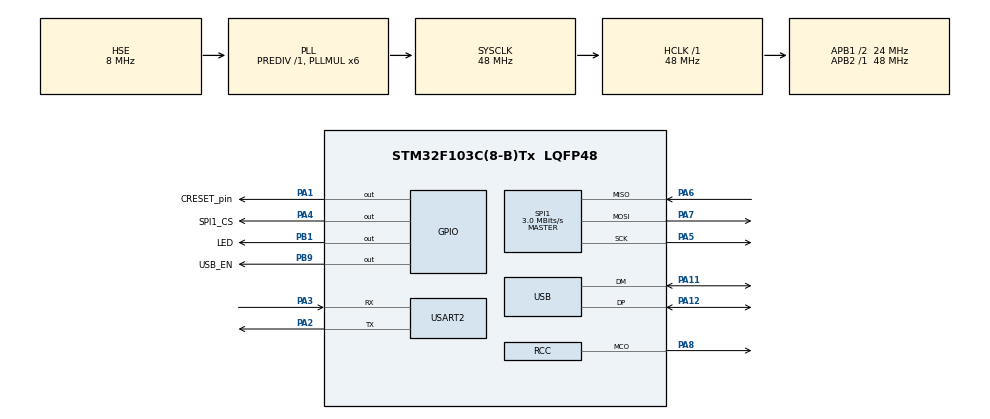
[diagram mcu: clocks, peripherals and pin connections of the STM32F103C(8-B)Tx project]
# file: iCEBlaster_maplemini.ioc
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Mcu.Family=STM32F1
Mcu.Name=STM32F103C(8-B)Tx
Mcu.Package=LQFP48
NVIC.PriorityGroup=NVIC_PRIORITYGROUP_4
NVIC.USB_LP_CAN1_RX0_IRQn=true\:0\:0\:false\:false\:true\:false\:true\:true
PA1.GPIO_Label=CRESET_pin
PA1.GPIO_ModeDefaultOutputPP=GPIO_MODE_OUTPUT_PP
PA1.GPIO_PuPd=GPIO_NOPULL
PA1.PinState=GPIO_PIN_RESET
PA1.Signal=GPIO_Output
PA11.Mode=Device
PA11.Signal=USB_DM
PA12.Mode=Device
PA12.Signal=USB_DP
PA13.Mode=Serial_Wire
PA13.Signal=SYS_JTMS-SWDIO
PA14.Mode=Serial_Wire
PA14.Signal=SYS_JTCK-SWCLK
PA2.Mode=Asynchronous
PA2.Signal=USART2_TX
PA3.Mode=Asynchronous
PA3.Signal=USART2_RX
PA4.GPIO_Label=SPI1_CS
PA4.GPIO_ModeDefaultOutputPP=GPIO_MODE_OUTPUT_PP
PA4.GPIO_PuPd=GPIO_NOPULL
PA4.PinState=GPIO_PIN_RESET
PA4.Signal=GPIO_Output
PA5.Mode=Full_Duplex_Master
PA5.Signal=SPI1_SCK
PA6.Mode=Full_Duplex_Master
PA6.Signal=SPI1_MISO
PA7.Mode=Full_Duplex_Master
PA7.Signal=SPI1_MOSI
PA8.Mode=Clock-out
PA8.Signal=RCC_MCO
PB1.GPIO_Label=LED
PB1.Signal=GPIO_Output
PB9.GPIO_Label=USB_EN
PB9.Signal=GPIO_Output
PD0-OSC_IN.Mode=HSE-External-Oscillator
PD0-OSC_IN.Signal=RCC_OSC_IN
PD1-OSC_OUT.Mode=HSE-External-Oscillator
PD1-OSC_OUT.Signal=RCC_OSC_OUT
ProjectManager.HeapSize=0x400
ProjectManager.StackSize=0x400
ProjectManager.TargetToolchain=STM32CubeIDE
RCC.AHBFreq_Value=48000000
RCC.APB1CLKDivider=RCC_HCLK_DIV2
RCC.APB1Freq_Value=24000000
RCC.APB1TimFreq_Value=48000000
RCC.APB2Freq_Value=48000000
RCC.APB2TimFreq_Value=48000000
RCC.HCLKFreq_Value=48000000
RCC.PLLMUL=RCC_PLL_MUL6
RCC.SYSCLKFreq_VALUE=48000000
RCC.SYSCLKSource=RCC_SYSCLKSOURCE_PLLCLK
RCC.USBFreq_Value=48000000
SPI1.BaudRatePrescaler=SPI_BAUDRATEPRESCALER_16
SPI1.CLKPhase=SPI_PHASE_2EDGE
SPI1.CLKPolarity=SPI_POLARITY_HIGH
SPI1.CalculateBaudRate=3.0 MBits/s
SPI1.Direction=SPI_DIRECTION_2LINES
SPI1.Mode=SPI_MODE_MASTER
SPI1.VirtualType=VM_MASTER
USART2.VirtualMode=VM_ASYNC
USB_DEVICE.CLASS_NAME_FS=MSC
USB_DEVICE.MANUFACTURER_STRING=TinLethax
USB_DEVICE.MSC_MEDIA_PACKET=512
USB_DEVICE.PID_MSC_FS=0x2069
USB_DEVICE.PRODUCT_STRING_MSC_FS=iCEBlaster
USB_DEVICE.VID=0x1209
USB_DEVICE.VirtualMode=Msc
USB_DEVICE.VirtualModeFS=Msc_FS
VP_USB_DEVICE_VS_USB_DEVICE_MSC_FS.Mode=MSC_FS
board=custom

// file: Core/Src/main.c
/* USER CODE BEGIN Header */
/* iCEBlaster. STM32 based iCE40 Bitstream programmer tool with USB MSC Drag and Drop feature.
 * Coded by TinLethax
 * https://github.com/TiNredmc/iCEBlaster_maplemini
 */

/* USER CODE END Header */
#include "main.h"
#include "usb_device.h"

/* USER CODE BEGIN Includes */
#include <stdint.h>
#include <stdio.h>
#include <string.h>
#include <stm32f1xx_hal.h>
/* USER CODE END Includes */

/* USER CODE BEGIN PM */
#ifdef __GNUC__
  /* With GCC/RAISONANCE, small printf (option LD Linker->Libraries->Small printf
     set to 'Yes') calls __io_putchar() */
  #define PUTCHAR_PROTOTYPE int __io_putchar(int ch)
#else
  #define PUTCHAR_PROTOTYPE int fputc(int ch, FILE *f)
#endif /* __GNUC__ */
/* USER CODE END PM */

SPI_HandleTypeDef hspi1;

UART_HandleTypeDef huart2;

/* USER CODE BEGIN PV */
uint8_t reset_flag = 0;

/* USER CODE END PV */

void SystemClock_Config(void);
static void MX_GPIO_Init(void);
static void MX_SPI1_Init(void);
static void MX_USART2_UART_Init(void);
/* USER CODE BEGIN PFP */

PUTCHAR_PROTOTYPE
{
  /* Place your implementation of fputc here */
  /* e.g. write a character to the EVAL_COM1 and Loop until the end of transmission */
  HAL_UART_Transmit(&huart2, (uint8_t *)&ch, 1, 0xFFFF);

  return ch;
}
/* USER CODE END PFP */

/* USER CODE BEGIN 0 */

/* iCEBlaster. STM32 based iCE40 Bitstream programmer tool with USB MSC Drag and Drop feature.
 * Coded by TinLethax
 * https://github.com/TiNredmc/iCEBlaster_maplemini
 */

/* USER CODE END 0 */

int main(void)
{

  /* MCU Configuration--------------------------------------------------------*/

  /* Reset of all peripherals, Initializes the Flash interface and the Systick. */
  HAL_Init();

  /* Configure the system clock */
  SystemClock_Config();

  /* Initialize all configured peripherals */
  MX_GPIO_Init();
  MX_USB_DEVICE_Init();
  MX_SPI1_Init();
  MX_USART2_UART_Init();
  /* USER CODE BEGIN 2 */

  // Important source files worth taking a look at :
  // USB_DEVICE/App/usbd_storage_if.c

  /* On Maple Mini board has USB bus gating controlled by PB9
     * If USB function of your STM32F103 Maple Mini doesn't work
     * Or your PC doesn't detect your board
     * Set PB9 to Logic low */

     printf("%c",0x0c);// clear UART terminal screen
     HAL_GPIO_WritePin(SPI1_CS_GPIO_Port, SPI1_CS_Pin, GPIO_PIN_SET);// Release SPI CE
     HAL_GPIO_WritePin(CRESET_pin_GPIO_Port, CRESET_pin_Pin, GPIO_PIN_SET);// Release reset pin, lets FPGA run.
     HAL_GPIO_WritePin(USB_EN_GPIO_Port, USB_EN_Pin, GPIO_PIN_RESET);// Allow Electrical USB connection.
     HAL_GPIO_WritePin(GPIOB, LED_Pin, GPIO_PIN_SET);

  /* USER CODE END 2 */

  /* Infinite loop */
  while (1)
  {

    /* USER CODE BEGIN 3 */

	if(reset_flag == 1){
	// Disconnect and reconnect USB.
	HAL_Delay(200);
	HAL_GPIO_WritePin(USB_EN_GPIO_Port, USB_EN_Pin, GPIO_PIN_SET);
	HAL_Delay(20);
	HAL_GPIO_WritePin(USB_EN_GPIO_Port, USB_EN_Pin, GPIO_PIN_RESET);
	reset_flag = 0;
	}
  }// while
  /* USER CODE END 3 */
}

void SystemClock_Config(void)
{
  RCC_OscInitTypeDef RCC_OscInitStruct = {0};
  RCC_ClkInitTypeDef RCC_ClkInitStruct = {0};
  RCC_PeriphCLKInitTypeDef PeriphClkInit = {0};

  /** Initializes the RCC Oscillators according to the specified parameters
  * in the RCC_OscInitTypeDef structure.
  */
  RCC_OscInitStruct.OscillatorType = RCC_OSCILLATORTYPE_HSE;
  RCC_OscInitStruct.HSEState = RCC_HSE_ON;
  RCC_OscInitStruct.HSEPredivValue = RCC_HSE_PREDIV_DIV1;
  RCC_OscInitStruct.HSIState = RCC_HSI_ON;
  RCC_OscInitStruct.PLL.PLLState = RCC_PLL_ON;
  RCC_OscInitStruct.PLL.PLLSource = RCC_PLLSOURCE_HSE;
  RCC_OscInitStruct.PLL.PLLMUL = RCC_PLL_MUL6;
  if (HAL_RCC_OscConfig(&RCC_OscInitStruct) != HAL_OK)
  {
    Error_Handler();
  }

  /** Initializes the CPU, AHB and APB buses clocks
  */
  RCC_ClkInitStruct.ClockType = RCC_CLOCKTYPE_HCLK|RCC_CLOCKTYPE_SYSCLK
                              |RCC_CLOCKTYPE_PCLK1|RCC_CLOCKTYPE_PCLK2;
  RCC_ClkInitStruct.SYSCLKSource = RCC_SYSCLKSOURCE_PLLCLK;
  RCC_ClkInitStruct.AHBCLKDivider = RCC_SYSCLK_DIV1;
  RCC_ClkInitStruct.APB1CLKDivider = RCC_HCLK_DIV2;
  RCC_ClkInitStruct.APB2CLKDivider = RCC_HCLK_DIV1;

  if (HAL_RCC_ClockConfig(&RCC_ClkInitStruct, FLASH_LATENCY_1) != HAL_OK)
  {
    Error_Handler();
  }
  PeriphClkInit.PeriphClockSelection = RCC_PERIPHCLK_USB;
  PeriphClkInit.UsbClockSelection = RCC_USBCLKSOURCE_PLL;
  if (HAL_RCCEx_PeriphCLKConfig(&PeriphClkInit) != HAL_OK)
  {
    Error_Handler();
  }
  HAL_RCC_MCOConfig(RCC_MCO, RCC_MCO1SOURCE_SYSCLK, RCC_MCODIV_1);
}

static void MX_SPI1_Init(void)
{

  /* SPI1 parameter configuration*/
  hspi1.Instance = SPI1;
  hspi1.Init.Mode = SPI_MODE_MASTER;
  hspi1.Init.Direction = SPI_DIRECTION_2LINES;
  hspi1.Init.DataSize = SPI_DATASIZE_8BIT;
  hspi1.Init.CLKPolarity = SPI_POLARITY_HIGH;
  hspi1.Init.CLKPhase = SPI_PHASE_2EDGE;
  hspi1.Init.NSS = SPI_NSS_SOFT;
  hspi1.Init.BaudRatePrescaler = SPI_BAUDRATEPRESCALER_16;
  hspi1.Init.FirstBit = SPI_FIRSTBIT_MSB;
  hspi1.Init.TIMode = SPI_TIMODE_DISABLE;
  hspi1.Init.CRCCalculation = SPI_CRCCALCULATION_DISABLE;
  hspi1.Init.CRCPolynomial = 10;
  if (HAL_SPI_Init(&hspi1) != HAL_OK)
  {
    Error_Handler();
  }

}

static void MX_USART2_UART_Init(void)
{

  huart2.Instance = USART2;
  huart2.Init.BaudRate = 115200;
  huart2.Init.WordLength = UART_WORDLENGTH_8B;
  huart2.Init.StopBits = UART_STOPBITS_1;
  huart2.Init.Parity = UART_PARITY_NONE;
  huart2.Init.Mode = UART_MODE_TX_RX;
  huart2.Init.HwFlowCtl = UART_HWCONTROL_NONE;
  huart2.Init.OverSampling = UART_OVERSAMPLING_16;
  if (HAL_UART_Init(&huart2) != HAL_OK)
  {
    Error_Handler();
  }

}

static void MX_GPIO_Init(void)
{
  GPIO_InitTypeDef GPIO_InitStruct = {0};

  /* GPIO Ports Clock Enable */
  __HAL_RCC_GPIOD_CLK_ENABLE();
  __HAL_RCC_GPIOA_CLK_ENABLE();
  __HAL_RCC_GPIOB_CLK_ENABLE();

  /*Configure GPIO pin Output Level */
  HAL_GPIO_WritePin(GPIOA, CRESET_pin_Pin|SPI1_CS_Pin, GPIO_PIN_RESET);

  /*Configure GPIO pin Output Level */
  HAL_GPIO_WritePin(GPIOB, LED_Pin|USB_EN_Pin, GPIO_PIN_RESET);

  /*Configure GPIO pins : CRESET_pin_Pin SPI1_CS_Pin */
  GPIO_InitStruct.Pin = CRESET_pin_Pin|SPI1_CS_Pin;
  GPIO_InitStruct.Mode = GPIO_MODE_OUTPUT_PP;
  GPIO_InitStruct.Pull = GPIO_NOPULL;
  GPIO_InitStruct.Speed = GPIO_SPEED_FREQ_LOW;
  HAL_GPIO_Init(GPIOA, &GPIO_InitStruct);

  /*Configure GPIO pins : LED_Pin USB_EN_Pin */
  GPIO_InitStruct.Pin = LED_Pin|USB_EN_Pin;
  GPIO_InitStruct.Mode = GPIO_MODE_OUTPUT_PP;
  GPIO_InitStruct.Pull = GPIO_NOPULL;
  GPIO_InitStruct.Speed = GPIO_SPEED_FREQ_LOW;
  HAL_GPIO_Init(GPIOB, &GPIO_InitStruct);

  /*Configure GPIO pin : PA8 */
  GPIO_InitStruct.Pin = GPIO_PIN_8;
  GPIO_InitStruct.Mode = GPIO_MODE_AF_PP;
  GPIO_InitStruct.Speed = GPIO_SPEED_FREQ_LOW;
  HAL_GPIO_Init(GPIOA, &GPIO_InitStruct);

}

void Error_Handler(void)
{
  __disable_irq();
  while (1)
  {
  }
}
